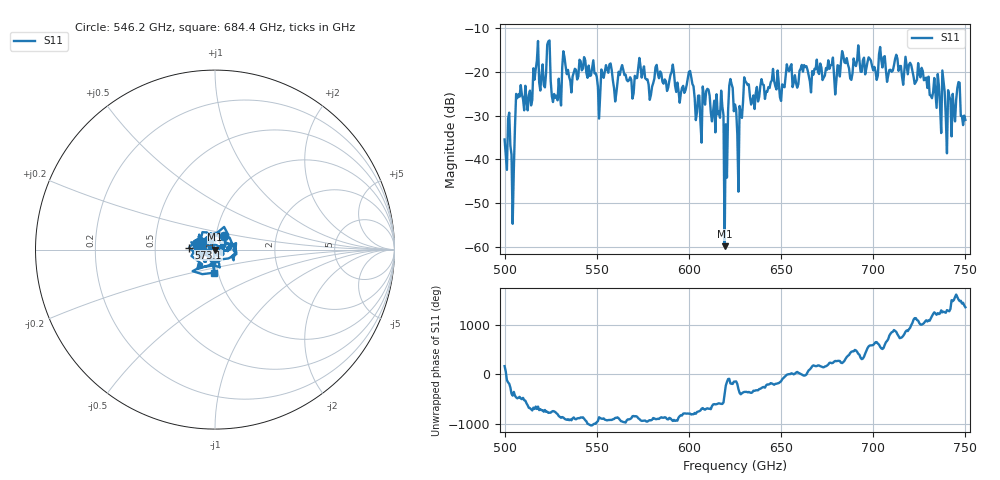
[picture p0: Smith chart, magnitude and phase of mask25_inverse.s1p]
!Created with skrf (http://scikit-rf.org).
# GHz S MA R 50.0
!freq magS11 angS11
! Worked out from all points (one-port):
!   401 points, 500 GHz to 750 GHz, reference 50 ohm
!   lowest |S11| = -59.9 dB at 619.4 GHz (marker M1), VSWR 1.00, Z = 50.1 - j0.0611 ohm
!   |S11| at or under -10 dB: start of sweep to end of sweep
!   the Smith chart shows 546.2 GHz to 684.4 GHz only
!   S11 on the Smith chart (normalised r, x): 546.2 GHz: 1.09, +0.16; 573.1 GHz: 0.75, +0.02; 684.4 GHz: 0.96, -0.25
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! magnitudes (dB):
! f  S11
! 500 GHz  -35.5
! 504.4 GHz  -54.8
! 507.5 GHz  -25.1
! 513.8 GHz  -24.3
! 516.9 GHz  -19.4
! 520.6 GHz  -18.3
! 523.8 GHz  -13.0
! 527.5 GHz  -25.9
! 531.2 GHz  -19.0
! 546.2 GHz  -20.9
! 562.5 GHz  -20.7
! 573.1 GHz  -16.8
! 593.8 GHz  -22.4
! 617.5 GHz  -24.3
! 619.4 GHz  -59.9
! 620.6 GHz  -44.2
! 622.5 GHz  -21.6
! 625 GHz  -27.5
! 627.5 GHz  -27.8
! 631.2 GHz  -22.5
! 634.4 GHz  -26.5
! 656.2 GHz  -23.5
! 684.4 GHz  -17.8
! 687.5 GHz  -21.5
! 718.8 GHz  -20.5
! 741.2 GHz  -25.6
! 746.2 GHz  -22.3
! 750 GHz  -31.0
